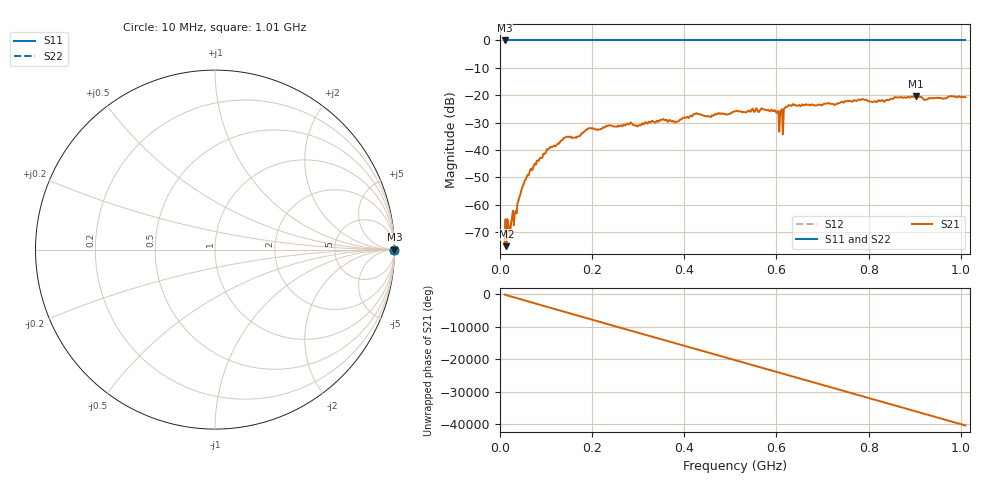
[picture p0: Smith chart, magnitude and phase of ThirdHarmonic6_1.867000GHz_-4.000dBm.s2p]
! 8/16/2025 10:34:07 PM
! C:\ANRITSUVNA\TEMP\TEMP.S2P
! CHANNEL.1
! TR.MEASUREMENT
! RAW.DATA
! RF.CORRECTION.OFF
! AVERAGING.OFF
! IF.BANDWIDTH: 5KHZ
! SWEEPTYPE:  FREQ.SWEEP(Linear)
! Reference Plane Port Info
! PORT:  PORT1  PORT2
! DISTANCE:  0  m  0  m
! TIME:  0  s  0  s
! PHASE.OFFSET:  0  deg.  0  deg.
! LOSS:  0  dB  0  dB
! REF.LOSS:  0  dB  0  dB
! REF.FREQ:  0  Hz  0  Hz
! Power Info
! POWER:  -20  dBm  -20  dBm
! EFF.POWER:  -20  dBm  -20  dBm
! SOURCE.ATTEN:  0  dB  0  dB
! TEST.ATTEN:  0  dB  0  dB
# GHZ S RI R 50.0
! FREQ.GHZ  S11RE  S11IM  S21RE  S21IM  S12RE  S12IM  S22RE  S22IM
!; PortSelection: Port_12
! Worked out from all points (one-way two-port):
!   501 points, 10 MHz to 1.01 GHz, reference 50 ohm
!   highest |S21| = -20.32 dB at 902 MHz (marker M1); lowest = -75.1 dB at 14 MHz (marker M2)
!   lowest |S11| = 0.0 dB at 10 MHz (marker M3)
!   |S11| at or under -10 dB: nowhere
!   |S22| runs from 0.0 to 0.0 dB; largest |S21 - S12| = 1.1
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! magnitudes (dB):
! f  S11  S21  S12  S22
! 10 MHz  0.0  -74.3  0.0  0.0
! 14 MHz  0.0  -75.1  0.0  0.0
! 16 MHz  0.0  -65.3  0.0  0.0
! 18 MHz  0.0  -67.2  0.0  0.0
! 34 MHz  0.0  -62.3  0.0  0.0
! 54 MHz  0.0  -51.0  0.0  0.0
! 78 MHz  0.0  -45.4  0.0  0.0
! 106 MHz  0.0  -39.6  0.0  0.0
! 142 MHz  0.0  -35.4  0.0  0.0
! 178 MHz  0.0  -33.9  0.0  0.0
! 194 MHz  0.0  -32.0  0.0  0.0
! 344 MHz  0.0  -29.7  0.0  0.0
! 382 MHz  0.0  -29.6  0.0  0.0
! 510 MHz  0.0  -25.9  0.0  0.0
! 592 MHz  0.0  -25.8  0.0  0.0
! 608 MHz  0.0  -26.3  0.0  0.0
! 610 MHz  0.0  -25.6  0.0  0.0
! 624 MHz  0.0  -24.1  0.0  0.0
! 678 MHz  0.0  -23.4  0.0  0.0
! 844 MHz  0.0  -21.8  0.0  0.0
! 902 MHz  0.0  -20.3  0.0  0.0
! 1.01 GHz  0.0  -20.7  0.0  0.0
